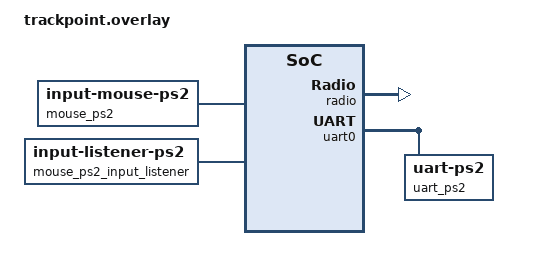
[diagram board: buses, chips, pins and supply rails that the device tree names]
/*
 * Trackpoint support for eyelash_corne
 * Adapted from kb_zmk_ps2_mouse_trackpoint_driver-zmk_config
 */

#include <dt-bindings/zmk/matrix_transform.h>

/*
 * PS/2 Mouse / TrackPoint - User Configuration
 */

// Use UART-based PS/2 driver
#define MOUSE_PS2_DRIVER_UART

// Pin definitions for trackpoint (using native nRF52 pin numbers)
// Selected unused GPIO pins that should work for PS/2
// PIN P0.16 (high frequency) for clock
// PIN P0.18 (high frequency) for data
// PIN P0.15 for reset
#define MOUSE_PS2_PIN_SCL <&gpio0 16 GPIO_ACTIVE_HIGH>
#define MOUSE_PS2_PIN_SDA <&gpio0 18 GPIO_ACTIVE_HIGH>
#define MOUSE_PS2_PIN_RST <&gpio0 15 GPIO_ACTIVE_HIGH>

// Configure SDA pin using the pinctrl notation
#define MOUSE_PS2_PIN_SDA_PINCTRL <NRF_PSEL(UART_RX, 0, 18)>

// Configure the unexposed pins for UART
#define MOUSE_PS2_PIN_UNEXPOSED_TX <NRF_PSEL(UART_TX, 0, 27)>
#define MOUSE_PS2_PIN_UNEXPOSED_RX <NRF_PSEL(UART_RX, 0, 28)>

// UART baud rate for PS/2 communication
#define MOUSE_PS2_UART_BAUD_RATE <14400>

// Define this to use in the keymap
#define MOUSE_PS2_DT_PRESENT

/*
 * PS/2 Mouse / TrackPoint - Interrupt Priority Configuration
 */

// Ensure GPIOTE has the highest priority (0) for fast PS/2 response
&gpiote {
    interrupts = <6 0>;
};

// Set lower priority (3) for most peripherals to ensure PS/2 events are handled quickly
&clock {
    interrupts = <0 3>;
};

&power {
    interrupts = <0 3>;
};

&radio {
    interrupts = <1 3>;
};

&pwm0 {
    interrupts = <28 3>;
};

&spi3 {
    interrupts = <47 3>;
};

/*
 * PS/2 Mouse / TrackPoint - Hardware Configuration
 */

&pinctrl {
    // Pin configuration for UART in PS/2 mode
    uart0_ps2_default: uart0_ps2_default {
        group1 {
            psels = MOUSE_PS2_PIN_UNEXPOSED_TX,
                    MOUSE_PS2_PIN_SDA_PINCTRL;
        };
    };

    uart0_ps2_sleep: uart0_ps2_sleep {
        group1 {
            psels = MOUSE_PS2_PIN_UNEXPOSED_TX,
                    MOUSE_PS2_PIN_SDA_PINCTRL;
            low-power-enable;
        };
    };

    uart0_ps2_off: uart0_ps2_off {
        group1 {
            psels = MOUSE_PS2_PIN_UNEXPOSED_TX,
                    MOUSE_PS2_PIN_UNEXPOSED_RX;
        };
    };
};

// UART configuration for PS/2 communication
&uart0 {
    status = "okay";
    compatible = "nordic,nrf-uarte";
    current-speed = MOUSE_PS2_UART_BAUD_RATE;
    pinctrl-0 = <&uart0_ps2_default>;
    pinctrl-1 = <&uart0_ps2_off>;
    pinctrl-names = "default", "sleep";

    uart_ps2: uart_ps2 {
        status = "okay";
        compatible = "uart-ps2";
        scl-gpios = MOUSE_PS2_PIN_SCL;
        sda-gpios = MOUSE_PS2_PIN_SDA;
    };
};

/ {
    mouse_ps2: mouse_ps2 {
        status = "okay";
        compatible = "zmk,input-mouse-ps2";

        ps2-device = <&uart_ps2>;
        rst-gpios = MOUSE_PS2_PIN_RST;

        // Trackpoint specific configuration
        // Uncomment and adjust these values as needed
        // tp-sensitivity = <128>;
        // tp-val6-upper-speed = <97>;
        // tp-neg-inertia = <6>;
        // tp-press-to-select;
        // tp-press-to-select-threshold = <10>;
        // tp-xy-swap;
        // tp-x-invert;
        // tp-y-invert;
        // sampling-rate = <100>;
    };

    mouse_ps2_input_listener: mouse_ps2_input_listener {
        compatible = "zmk,input-listener-ps2";
        status = "okay";
        device = <&mouse_ps2>;

        // Optional behavior configuration
        // Uncomment and adjust these as needed
        // xy-swap;
        // x-invert;
        // y-invert;
        // layer-toggle = <3>; // Adjust to your preferred mouse layer
        // layer-toggle-delay-ms = <250>;
        // layer-toggle-timeout-ms = <250>;
    };
};
